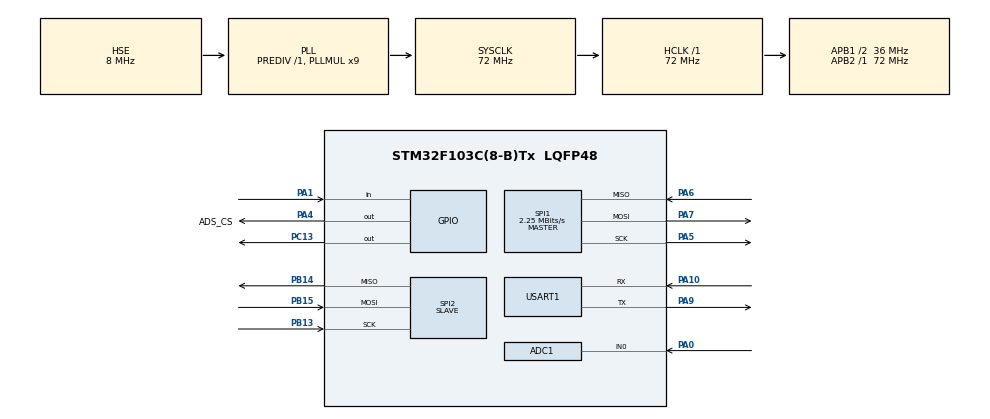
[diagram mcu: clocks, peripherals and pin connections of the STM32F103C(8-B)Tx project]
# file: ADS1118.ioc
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ADC1.Channel-0\#ChannelRegularConversion=ADC_CHANNEL_0
ADC1.ContinuousConvMode=ENABLE
ADC1.NbrOfConversionFlag=1
ADC1.Rank-0\#ChannelRegularConversion=1
ADC1.SamplingTime-0\#ChannelRegularConversion=ADC_SAMPLETIME_28CYCLES_5
ADC1.master=1
Mcu.Family=STM32F1
Mcu.Name=STM32F103C(8-B)Tx
Mcu.Package=LQFP48
NVIC.PriorityGroup=NVIC_PRIORITYGROUP_4
PA0-WKUP.Signal=ADCx_IN0
PA1.GPIO_PuPd=GPIO_PULLDOWN
PA1.Signal=GPIO_Input
PA10.Mode=Asynchronous
PA10.Signal=USART1_RX
PA13.Mode=Serial_Wire
PA13.Signal=SYS_JTMS-SWDIO
PA14.Mode=Serial_Wire
PA14.Signal=SYS_JTCK-SWCLK
PA4.GPIO_Label=ADS_CS
PA4.PinState=GPIO_PIN_SET
PA4.Signal=GPIO_Output
PA5.Mode=Full_Duplex_Master
PA5.Signal=SPI1_SCK
PA6.Mode=Full_Duplex_Master
PA6.Signal=SPI1_MISO
PA7.Mode=Full_Duplex_Master
PA7.Signal=SPI1_MOSI
PA9.Mode=Asynchronous
PA9.Signal=USART1_TX
PB13.Mode=Full_Duplex_Slave
PB13.Signal=SPI2_SCK
PB14.Mode=Full_Duplex_Slave
PB14.Signal=SPI2_MISO
PB15.Mode=Full_Duplex_Slave
PB15.Signal=SPI2_MOSI
PC13-TAMPER-RTC.Signal=GPIO_Output
PD0-OSC_IN.Mode=HSE-External-Oscillator
PD0-OSC_IN.Signal=RCC_OSC_IN
PD1-OSC_OUT.Mode=HSE-External-Oscillator
PD1-OSC_OUT.Signal=RCC_OSC_OUT
ProjectManager.HeapSize=0x200
ProjectManager.StackSize=0x400
ProjectManager.TargetToolchain=MDK-ARM V5.32
RCC.ADCPresc=RCC_ADCPCLK2_DIV6
RCC.AHBFreq_Value=72000000
RCC.APB1CLKDivider=RCC_HCLK_DIV2
RCC.APB1Freq_Value=36000000
RCC.APB1TimFreq_Value=72000000
RCC.APB2Freq_Value=72000000
RCC.APB2TimFreq_Value=72000000
RCC.HCLKFreq_Value=72000000
RCC.PLLMUL=RCC_PLL_MUL9
RCC.PLLSourceVirtual=RCC_PLLSOURCE_HSE
RCC.SYSCLKFreq_VALUE=72000000
RCC.SYSCLKSource=RCC_SYSCLKSOURCE_PLLCLK
RCC.USBFreq_Value=72000000
SH.ADCx_IN0.0=ADC1_IN0,IN0
SPI1.BaudRatePrescaler=SPI_BAUDRATEPRESCALER_32
SPI1.CLKPhase=SPI_PHASE_2EDGE
SPI1.CRCCalculation=SPI_CRCCALCULATION_DISABLE
SPI1.CalculateBaudRate=2.25 MBits/s
SPI1.Direction=SPI_DIRECTION_2LINES
SPI1.Mode=SPI_MODE_MASTER
SPI1.VirtualType=VM_MASTER
SPI2.Direction=SPI_DIRECTION_2LINES
SPI2.Mode=SPI_MODE_SLAVE
SPI2.VirtualType=VM_SLAVE
USART1.VirtualMode=VM_ASYNC
board=custom

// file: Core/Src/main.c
/* USER CODE BEGIN Header */
/**
  ******************************************************************************
  * @file           : main.c
  * @brief          : Main program body
  ******************************************************************************
  * @attention
  *
  * Copyright (c) 2026 STMicroelectronics.
  * All rights reserved.
  *
  * This software is licensed under terms that can be found in the LICENSE file
  * in the root directory of this software component.
  * If no LICENSE file comes with this software, it is provided AS-IS.
  *
  ******************************************************************************
  */
/* USER CODE END Header */
#include "main.h"
#include "adc.h"
#include "spi.h"
#include "usart.h"
#include "gpio.h"

/* USER CODE BEGIN Includes */
#include <stdio.h>
#include "ads1118.h"
#include "thermocouple.h"
#include "temp_filter.h"
#include "spi2_slave.h"
/* USER CODE END Includes */

void SystemClock_Config(void);

/* USER CODE BEGIN 0 */
// �ض��� printf() �� USART1
#ifdef __GNUC__
  #define PUTCHAR_PROTOTYPE int __io_putchar(int ch)
#else
  #define PUTCHAR_PROTOTYPE int fputc(int ch, FILE *f)
#endif

PUTCHAR_PROTOTYPE
{
  // ����һ���ֽڵ�USART1
  HAL_UART_Transmit(&huart1, (uint8_t *)&ch, 1, HAL_MAX_DELAY);
  return ch;
}
/* USER CODE END 0 */

int main(void)
{

  /* MCU Configuration--------------------------------------------------------*/

  /* Reset of all peripherals, Initializes the Flash interface and the Systick. */
  HAL_Init();

  /* Configure the system clock */
  SystemClock_Config();

  /* Initialize all configured peripherals */
  MX_GPIO_Init();
  MX_ADC1_Init();
  MX_USART1_UART_Init();
  MX_SPI1_Init();
  MX_SPI2_Init();
  /* USER CODE BEGIN 2 */
  printf("ADS1118 Thermocouple Test Start...\r\n");
  ADS1118_Init();
  TempFilter_Init();
  SPI2_Slave_Init();
  /* USER CODE END 2 */

  /* Infinite loop */
  while (1)
  {

    /* USER CODE BEGIN 3 */

    TempFilter_Process();
    SPI2_Slave_Process();

    /* USER CODE END 3 */
  }
  /* USER CODE END 3 */
}

void SystemClock_Config(void)
{
  RCC_OscInitTypeDef RCC_OscInitStruct = {0};
  RCC_ClkInitTypeDef RCC_ClkInitStruct = {0};
  RCC_PeriphCLKInitTypeDef PeriphClkInit = {0};

  /** Initializes the RCC Oscillators according to the specified parameters
  * in the RCC_OscInitTypeDef structure.
  */
  RCC_OscInitStruct.OscillatorType = RCC_OSCILLATORTYPE_HSE;
  RCC_OscInitStruct.HSEState = RCC_HSE_ON;
  RCC_OscInitStruct.HSEPredivValue = RCC_HSE_PREDIV_DIV1;
  RCC_OscInitStruct.HSIState = RCC_HSI_ON;
  RCC_OscInitStruct.PLL.PLLState = RCC_PLL_ON;
  RCC_OscInitStruct.PLL.PLLSource = RCC_PLLSOURCE_HSE;
  RCC_OscInitStruct.PLL.PLLMUL = RCC_PLL_MUL9;
  if (HAL_RCC_OscConfig(&RCC_OscInitStruct) != HAL_OK)
  {
    Error_Handler();
  }

  /** Initializes the CPU, AHB and APB buses clocks
  */
  RCC_ClkInitStruct.ClockType = RCC_CLOCKTYPE_HCLK|RCC_CLOCKTYPE_SYSCLK
                              |RCC_CLOCKTYPE_PCLK1|RCC_CLOCKTYPE_PCLK2;
  RCC_ClkInitStruct.SYSCLKSource = RCC_SYSCLKSOURCE_PLLCLK;
  RCC_ClkInitStruct.AHBCLKDivider = RCC_SYSCLK_DIV1;
  RCC_ClkInitStruct.APB1CLKDivider = RCC_HCLK_DIV2;
  RCC_ClkInitStruct.APB2CLKDivider = RCC_HCLK_DIV1;

  if (HAL_RCC_ClockConfig(&RCC_ClkInitStruct, FLASH_LATENCY_2) != HAL_OK)
  {
    Error_Handler();
  }
  PeriphClkInit.PeriphClockSelection = RCC_PERIPHCLK_ADC;
  PeriphClkInit.AdcClockSelection = RCC_ADCPCLK2_DIV6;
  if (HAL_RCCEx_PeriphCLKConfig(&PeriphClkInit) != HAL_OK)
  {
    Error_Handler();
  }
}

void Error_Handler(void)
{
  __disable_irq();
  while (1)
  {
  }
}
